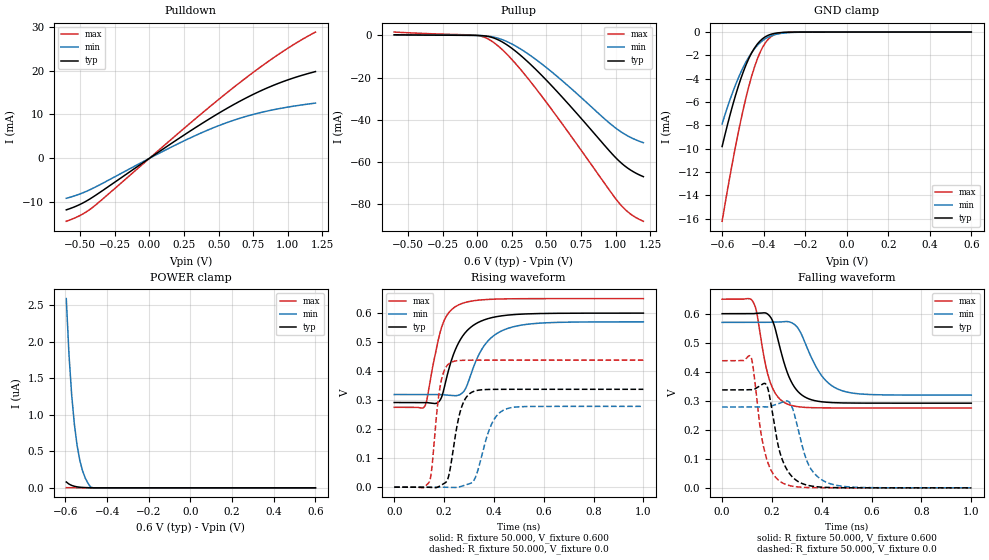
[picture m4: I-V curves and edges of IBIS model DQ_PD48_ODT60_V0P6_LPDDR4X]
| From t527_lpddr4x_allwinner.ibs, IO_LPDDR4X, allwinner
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|   Model DQ_PD48_ODT60_V0P6_LPDDR4X
[Model] DQ_PD48_ODT60_V0P6_LPDDR4X
Model_type I/O
Polarity   Non-Inverting
Enable   Active-Low
Vinl =  0.300V
Vinh =  0.300V
C_comp   1.453pF   1.411pF   1.511pF
C_comp_pulldown   0.743pF   0.712pF   0.780pF
[Model Spec]
Vinh   0.300V   0.285V   0.325V
Vinl   0.300V   0.285V   0.325V
[Temperature Range]   25.000   0.125k   -40.000
[Voltage Range]   0.600V   0.570V   0.650V
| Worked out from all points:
|   slope of the pulldown table from 0 to 0.09 V, typ, clamps not added: 46.6 ohm
|   slope of the pullup table from 0 to 0.09 V, typ, clamps not added: 138 ohm
|   GND clamp passes 1 mA (typ) near -0.43 V on its own axis
|   rising waveform, R_fixture 50.000, V_fixture 0.600: 20-80 % time 87.4ps typ, 95.6ps min, 59.8ps max; typ from 0.292 V to 0.6 V
|   rising waveform, R_fixture 50.000, V_fixture 0.0: 20-80 % time 42.6ps typ, 58.8ps min, 31.3ps max; typ from 0 V to 0.337 V
|   falling waveform, R_fixture 50.000, V_fixture 0.600: 20-80 % time 69.4ps typ, 92.9ps min, 54.4ps max; typ from 0.6 V to 0.292 V
|   falling waveform, R_fixture 50.000, V_fixture 0.0: 20-80 % time 57.1ps typ, 65.1ps min, 49.6ps max; typ from 0.337 V to 0 V
[Pulldown]
|Voltage   I(typ)   I(min)   I(max)
-600mV    -11.73mA   -9.096mA   -14.33mA
-486mV    -10.26mA   -7.919mA   -12.76mA
-391mV    -8.468mA   -6.555mA   -10.7mA
179mV     3.821mA    2.89mA     4.894mA
369mV     7.727mA    5.719mA    9.993mA
521mV     10.66mA    7.695mA    13.95mA
692mV     13.66mA    9.506mA    18.2mA
863mV     16.21mA    10.86mA    22.18mA
1.034V    18.24mA    11.86mA    25.76mA
1.2V      19.78mA    12.6mA     28.79mA
[Pullup]
|Voltage   I(typ)   I(min)   I(max)
-600mV    307.6uA    240.7uA    1.617mA
3mV       -5.669uA   -5.189uA   -28uA
60mV      -277.8uA   -203.6uA   -1.082mA
136mV     -1.634mA   -1.049mA   -4.186mA
193mV     -3.566mA   -2.301mA   -7.507mA
269mV     -7.071mA   -4.717mA   -12.78mA
440mV     -17.26mA   -12.22mA   -26.59mA
630mV     -30.47mA   -22.42mA   -43.44mA
934mV     -53.26mA   -40.42mA   -71.52mA
1.029V    -59.87mA   -45.33mA   -79.87mA
1.105V    -63.78mA   -48.3mA    -84.65mA
1.2V      -67.02mA   -50.92mA   -88.2mA
[GND_clamp]
|Voltage   I(typ)   I(min)   I(max)
-600mV    -9.815mA   -7.875mA   -16.22mA
-561mV    -7.046mA   -5.746mA   -12.23mA
-535mV    -5.403mA   -4.507mA   -9.766mA
-496mV    -3.316mA   -2.935mA   -6.457mA
-470mV    -2.216mA   -2.096mA   -4.569mA
-444mV    -1.371mA   -1.428mA   -2.993mA
-418mV    -778.9uA   -926.6uA   -1.774mA
-392mV    -406.1uA   -573.1uA   -928uA
-366mV    -197uA     -340uA     -421.7uA
-327mV    -60.99uA   -147uA     -102.9uA
-275mV    -11.95uA   -46.19uA   -12.78uA
600mV     -16.32nA   -580.9nA   -530.8pA
[POWER_clamp]
|Voltage   I(typ)   I(min)   I(max)
-596mV    80.11nA    2.59uA     2.718nA
-583mV    51.54nA    1.823uA    1.849nA
-570mV    33.02nA    1.267uA    1.347nA
-557mV    21.05nA    865.5nA    1.054nA
-544mV    13.37nA    578.4nA    882.1pA
-531mV    8.471nA    375.5nA    779.4pA
-518mV    5.383nA    233.4nA    714.2pA
-505mV    3.418nA    134nA      667.8pA
-492mV    2.102nA    63.17nA    630.5pA
-479mV    1.14nA     10.45nA    598.7pA
-466mV    372.9pA    0A         570.6pA
600mV     0A         0A         0A
[Ramp]
| variable   typ   min   max
dV/dt_r   0.202/42.732p   0.167/58.872p   0.263/31.469p
dV/dt_f   0.185/69.414p   0.150/92.987p   0.225/54.466p
R_load = 50.000
[Rising Waveform]
R_fixture= 50.000
V_fixture= 0.600
V_fixture_min= 0.570
V_fixture_max= 0.650
|time   V(typ)   V(min)   V(max)
0s        291.8mV    319.4mV    275.3mV
123ps     291.9mV    319.4mV    279.7mV
170ps     289.3mV    319.4mV    480.3mV
192ps     314.6mV    319.1mV    555.4mV
231ps     440.8mV    315.9mV    612.5mV
263ps     504.9mV    318.7mV    630.1mV
287ps     534.4mV    341mV      637.2mV
359ps     576mV      485.2mV    646.2mV
445ps     592.1mV    543.9mV    649.1mV
1ns       599.9mV    569.9mV    650mV
[Rising Waveform]
R_fixture= 50.000
V_fixture= 0.0
V_fixture_min= 0.0
V_fixture_max= 0.0
|time   V(typ)   V(min)   V(max)
0s        2.148uV    53.89uV    148.8nV
141ps     -556.1uV   155.8uV    18.41mV
185ps     5.258mV    312.7uV    350.6mV
212ps     22.08mV    -586.6uV   418.9mV
228ps     79.9mV     -994.2uV   430.3mV
269ps     272.2mV    2.713mV    437.1mV
318ps     329.8mV    21.52mV    437.8mV
387ps     337mV      210.2mV    437.9mV
444ps     337.3mV    267.7mV    437.9mV
1ns       337.3mV    278.4mV    437.9mV
[Falling Waveform]
R_fixture= 50.000
V_fixture= 0.600
V_fixture_min= 0.570
V_fixture_max= 0.650
|time   V(typ)   V(min)   V(max)
0s        600mV      570mV      650mV
123ps     599.9mV    570mV      642.3mV
138ps     601.3mV    569.9mV    607.3mV
170ps     603mV      570.1mV    441.9mV
192ps     590.7mV    570.6mV    366.5mV
261ps     398.6mV    572.9mV    289.1mV
330ps     314mV      505.9mV    277.4mV
398ps     296.7mV    388.2mV    275.6mV
469ps     292.8mV    338.6mV    275.3mV
1ns       291.8mV    319.4mV    275.3mV
[Falling Waveform]
R_fixture= 50.000
V_fixture= 0.0
V_fixture_min= 0.0
V_fixture_max= 0.0
|time   V(typ)   V(min)   V(max)
0s        337.3mV    278.4mV    437.9mV
115ps     338.2mV    278.4mV    451.9mV
172ps     359.5mV    279.2mV    120.5mV
186ps     333.8mV    279.2mV    81.31mV
223ps     154mV      289mV      28.81mV
245ps     89.39mV    296.5mV    15.58mV
280ps     39.26mV    279.8mV    5.881mV
349ps     7.699mV    76.08mV    863.1uV
416ps     1.596mV    20.16mV    132.3uV
1ns       2.154uV    54.14uV    150nV
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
